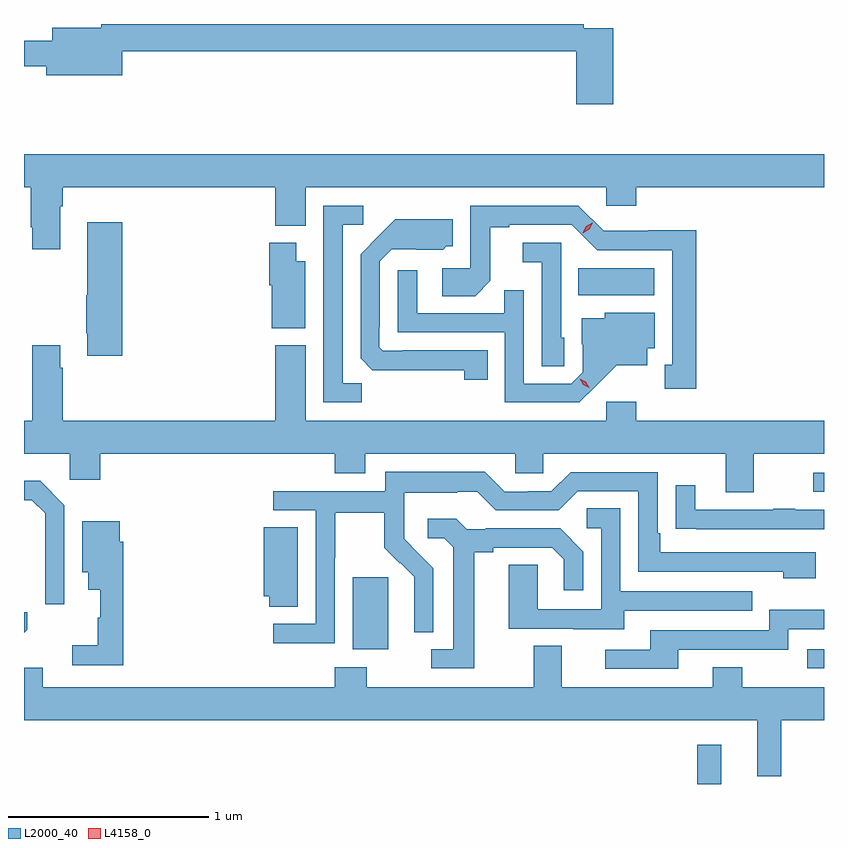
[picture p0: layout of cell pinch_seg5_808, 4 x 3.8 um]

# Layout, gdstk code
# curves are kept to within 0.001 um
import gdstk
lib = gdstk.Library(unit=1e-6, precision=1e-09)
def R(c, l, rs):  # rectangles x0, y0, x1, y1
    for r in rs: c.add(gdstk.rectangle(r[:2], r[2:], *l))
def P(c, l, *ps):  # polygons
    for p in ps: c.add(gdstk.Polygon(p, *l))
L2000_40 = (2000, 40)
L4158_0 = (4158, 0)

pinch_seg5_808 = lib.new_cell('pinch_seg5_808')
R(pinch_seg5_808, L2000_40, [(758.454,907.056,758.575,907.252), (759.003,907.635,759.088,907.731), (756.731,907.73,756.91,908.091), (759.033,908.517,759.088,908.613), (757.858,909.5,758.239,909.634)])
P(pinch_seg5_808, L2000_40, [(758.033,910.836),(757.886,910.836),(757.886,910.856),(755.474,910.856),(755.474,910.837),(755.228,910.837),(755.228,910.772),(755.088,910.772),(755.088,910.644),(755.198,910.644),(755.198,910.601),(755.578,910.601),(755.578,910.72),(757.85,910.72),(757.85,910.455),(758.033,910.455)],
  [(755.269,909.944),(755.282,909.944),(755.282,910.04),(756.344,910.04),(756.344,909.848),(756.496,909.848),(756.496,910.04),(757.998,910.04),(757.998,909.947),(758.15,909.947),(758.15,910.04),(759.088,910.04),(759.088,910.204),(755.088,910.204),(755.088,910.04),(755.122,910.04),(755.122,909.841),(755.129,909.841),(755.129,909.729),(755.269,909.729)],
  [(758.449,909.824),(758.208,909.824),(758.208,909.822),(757.986,909.822),(757.86,909.948),(757.32,909.948),(757.32,909.636),(757.179,909.636),(757.179,909.496),(757.343,909.496),(757.419,909.572),(757.419,909.84),(757.513,909.84),(757.513,909.852),(757.827,909.852),(757.953,909.726),(758.33,909.726),(758.33,909.153),(758.291,909.153),(758.291,909.033),(758.449,909.033)],
  [(756.777,909.059),(756.681,909.059),(756.681,909.852),(756.784,909.852),(756.784,909.948),(756.585,909.948),(756.585,908.964),(756.777,908.964)],
  [(757.406,909.225),(756.982,909.225),(756.982,909.222),(756.882,909.222),(756.864,909.24),(756.864,909.34),(756.867,909.34),(756.867,909.669),(756.927,909.729),(757.184,909.728),(757.2,909.744),(757.231,909.744),(757.231,909.88),(756.943,909.88),(756.771,909.706),(756.771,909.184),(756.83,909.125),(757.288,909.124),(757.288,909.078),(757.406,909.078)],
  [(755.578,909.865),(755.405,909.865),(755.405,909.499),(755.398,909.499),(755.398,909.31),(755.405,909.31),(755.405,909.198),(755.578,909.198)],
  [(756.493,909.67),(756.448,909.67),(756.448,909.763),(756.314,909.763),(756.314,909.549),(756.326,909.549),(756.326,909.335),(756.493,909.335)],
  [(757.788,909.288),(757.773,909.288),(757.773,909.762),(757.581,909.762),(757.581,909.665),(757.677,909.665),(757.677,909.145),(757.788,909.145)],
  [(757.948,909.047),(758.051,909.149),(758.203,909.149),(758.203,909.236),(758.242,909.236),(758.242,909.412),(757.992,909.412),(757.992,909.385),(757.877,909.385),(757.877,909.256),(757.881,909.256),(757.881,909.114),(757.824,909.057),(757.587,909.057),(757.587,909.524),(757.489,909.524),(757.489,909.411),(757.053,909.411),(757.053,909.625),(756.957,909.625),(756.957,909.315),(757.491,909.315),(757.491,908.964),(757.864,908.964)],
  [(758.737,908.708),(759.088,908.708),(759.088,908.872),(758.15,908.872),(758.15,908.968),(757.998,908.968),(757.998,908.872),(756.496,908.872),(756.496,909.25),(756.344,909.25),(756.344,908.872),(755.282,908.872),(755.282,909.137),(755.269,909.137),(755.269,909.25),(755.129,909.25),(755.129,908.872),(755.088,908.872),(755.088,908.708),(755.316,908.708),(755.316,908.577),(755.468,908.577),(755.468,908.708),(756.641,908.708),(756.641,908.609),(756.793,908.609),(756.793,908.708),(757.545,908.708),(757.545,908.61),(757.683,908.61),(757.683,908.708),(758.597,908.708),(758.597,908.514),(758.737,908.514)],
  [(756.642,908.188),(756.645,908.188),(756.645,908.412),(756.889,908.412),(756.889,908.237),(756.966,908.16),(756.969,908.163),(757.04,908.093),(757.04,907.97),(757.038,907.97),(757.038,907.816),(757.134,907.816),(757.134,908.134),(756.988,908.282),(756.988,908.379),(756.99,908.379),(756.99,908.513),(757.253,908.513),(757.253,908.517),(757.353,908.517),(757.446,908.424),(757.761,908.424),(757.857,908.52),(758.16,908.52),(758.16,908.118),(758.885,908.118),(758.885,908.084),(759.046,908.084),(759.046,908.214),(758.269,908.214),(758.269,908.311),(758.256,908.311),(758.256,908.616),(757.821,908.616),(757.725,908.52),(757.607,908.52),(757.607,908.517),(757.491,908.517),(757.391,908.617),(756.894,908.617),(756.894,908.52),(756.333,908.52),(756.333,908.424),(756.546,908.424),(756.546,907.857),(756.333,907.857),(756.333,907.759),(756.642,907.759)],
  [(755.289,908.451),(755.168,908.572),(755.088,908.572),(755.088,908.475),(755.127,908.475),(755.193,908.409),(755.193,907.956),(755.289,907.956)],
  [(759.088,908.427),(758.945,908.427),(758.945,908.432),(758.833,908.432),(758.833,908.427),(758.443,908.427),(758.443,908.551),(758.347,908.551),(758.347,908.332),(758.449,908.332),(758.449,908.331),(759.088,908.331)],
  [(758.089,907.923),(758.729,907.923),(758.729,908.019),(758.07,908.019),(758.07,908.435),(757.902,908.435),(757.902,908.334),(757.974,908.334),(757.974,907.929),(757.656,907.929),(757.656,908.153),(757.511,908.153),(757.511,907.833),(757.835,907.833),(757.835,907.829),(758.089,907.829)],
  [(757.339,908.216),(757.435,908.216),(757.435,908.238),(757.73,908.238),(757.787,908.181),(757.787,908.025),(757.884,908.025),(757.884,908.218),(757.768,908.334),(757.396,908.334),(757.396,908.331),(757.302,908.331),(757.25,908.383),(757.107,908.383),(757.107,908.286),(757.188,908.286),(757.235,908.239),(757.235,907.731),(757.125,907.731),(757.125,907.635),(757.339,907.635)],
  [(755.585,908.267),(755.566,908.267),(755.566,908.371),(755.378,908.371),(755.378,908.114),(755.408,908.114),(755.408,908.027),(755.468,908.027),(755.468,907.887),(755.457,907.887),(755.457,907.751),(755.328,907.751),(755.328,907.65),(755.585,907.65)],
  [(756.457,908.339),(756.287,908.339),(756.287,907.995),(756.314,907.995),(756.314,907.942),(756.457,907.942)],
  [(758.359,907.728),(758.91,907.728),(758.91,907.83),(759.088,907.83),(759.088,907.927),(758.814,907.927),(758.814,907.824),(758.219,907.824),(758.219,907.728),(757.995,907.728),(757.995,907.632),(758.359,907.632)],
  [(755.103,907.827),(755.103,907.915),(755.088,907.915),(755.088,907.812)],
  [(758.875,907.376),(759.088,907.376),(759.088,907.54),(758.679,907.54),(758.679,907.639),(758.531,907.639),(758.531,907.54),(757.777,907.54),(757.777,907.748),(757.637,907.748),(757.637,907.54),(756.801,907.54),(756.801,907.639),(756.641,907.639),(756.641,907.54),(755.182,907.54),(755.182,907.638),(755.088,907.638),(755.088,907.376),(758.753,907.376),(758.753,907.095),(758.875,907.095)])
P(pinch_seg5_808, L4158_0, [(757.881,909.811),(757.881,909.812),(757.899,909.844),(757.93,909.863),(757.931,909.863),(757.931,909.862),(757.913,909.83),(757.881,909.811)],
  [(757.915,909.038),(757.884,909.053),(757.866,909.083),(757.866,909.083),(757.866,909.083),(757.897,909.068),(757.915,909.038),(757.915,909.038)])

lib.write_gds('pinch_seg5_808.gds')
